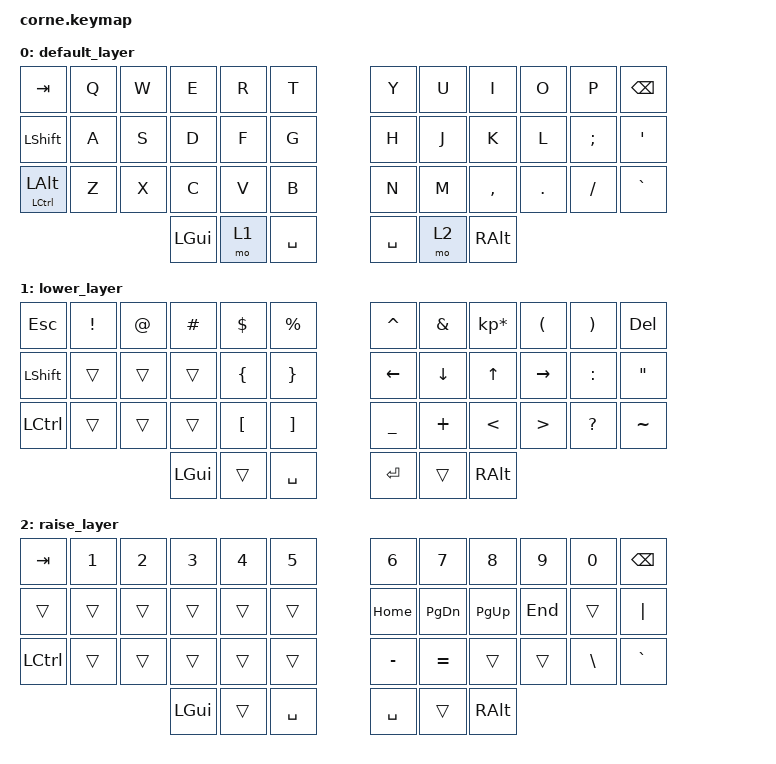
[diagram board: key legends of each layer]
/*
 * Copyright (c) 2020 The ZMK Contributors
 *
 * SPDX-License-Identifier: MIT
 */

#include <behaviors.dtsi>
#include <dt-bindings/zmk/keys.h>

&mt {
	tapping-term-ms = <300>;
};

/ {
        keymap {
                compatible = "zmk,keymap";

                default_layer {
// -----------------------------------------------------------------------------------------
// | TAB	   |  Q  |  W  |  E  |  R  |  T  |   |  Y  |  U   |  I  |  O  |  P  | BKSP |
// | SHFT	   |  A  |  S  |  D  |  F  |  G  |   |  H  |  J   |  K  |  L  |  ;  |  '   |
// | CTRL/LALT |  Z  |  X  |  C  |  V  |  B  |   |  N  |  M   |  ,  |  .  |  /  |  `   |
//                    | GUI | LWR | SPC |   | SPC | RSE  | RALT |
                        bindings = <
   &kp TAB   &kp Q &kp W &kp E &kp R &kp T   &kp Y &kp U  &kp I     &kp O   &kp P    &kp BSPC
   &kp LSHFT &kp A &kp S &kp D &kp F &kp G   &kp H &kp J  &kp K     &kp L   &kp SEMI &kp SQT
   &mt LCTRL LALT &kp Z &kp X &kp C &kp V &kp B   &kp N &kp M  &kp COMMA &kp DOT &kp FSLH &kp GRAVE
                  &kp LGUI &mo 1 &kp SPACE   &kp SPACE &mo 2 &kp RALT
                        >;
                };
                lower_layer {

// -----------------------------------------------------------------------------------------
// | ESC  |  !  |  @  |  #  |  $  |  %  |   |  ^  |  &  |  *  |  (  |  )  | DEL  |
// | SHFT |     |     |     |  {  |  }  |   | LFT | DWN |  UP | RGT |  :  |  "   |
// | CTRL |     |     |     |  [  |  ]  |   |  _  |  +  |  <  |  >  |  ?  |  ~   |
//                    | GUI |     | SPC |   | ENT |     | RALT|
                        bindings = <
   &kp  ESC  &kp EXCL  &kp AT &kp HASH &kp DLLR &kp PRCNT   &kp CARET &kp AMPS  &kp KP_MULTIPLY &kp LPAR &kp RPAR &kp DEL
   &kp LSHFT &trans    &trans &trans   &kp LBRC &kp RBRC    &kp LEFT  &kp DOWN  &kp UP          &kp RIGHT &kp COLON &kp DQT
   &kp LCTRL &trans    &trans &trans   &kp LBKT &kp RBKT    &kp UNDER &kp PLUS  &kp LT          &kp GT &kp QMARK &kp TILDE
                             &kp LGUI &trans   &kp SPACE   &kp RET   &trans    &kp RALT
                        >;
                };
                raise_layer {
// -----------------------------------------------------------------------------------------
// | TAB  |  1  |  2  |  3  |  4  |  5  |   |  6  |  7  |  8  |  9  |  0  | BKSP |
// |     |     |     |     |     |     |   | HOM | PDWN| PGUP| END |     | "|"  |
// | CTRL |     |     |     |     |     |   |  -  |  =  |     |     |  \  |  `   |
//                    | GUI |     | SPC |   | SPC |     | RALT |
                        bindings = <
   &kp TAB    &kp N1       &kp N2       &kp N3       &kp N4       &kp N5         &kp N6    &kp N7    &kp N8    &kp N9    &kp N0 &kp BSPC
   &trans     &trans       &trans       &trans       &trans       &trans         &kp HOME  &kp PG_DN &kp PG_UP &kp END   &trans &kp PIPE
   &kp LCTRL  &trans       &trans       &trans       &trans       &trans         &kp MINUS &kp EQUAL &trans    &trans   &kp BSLH &kp GRAVE
                                    &kp LGUI     &trans       &kp SPACE          &kp SPACE &trans   &kp RALT
                        >;
                };
        };
};
